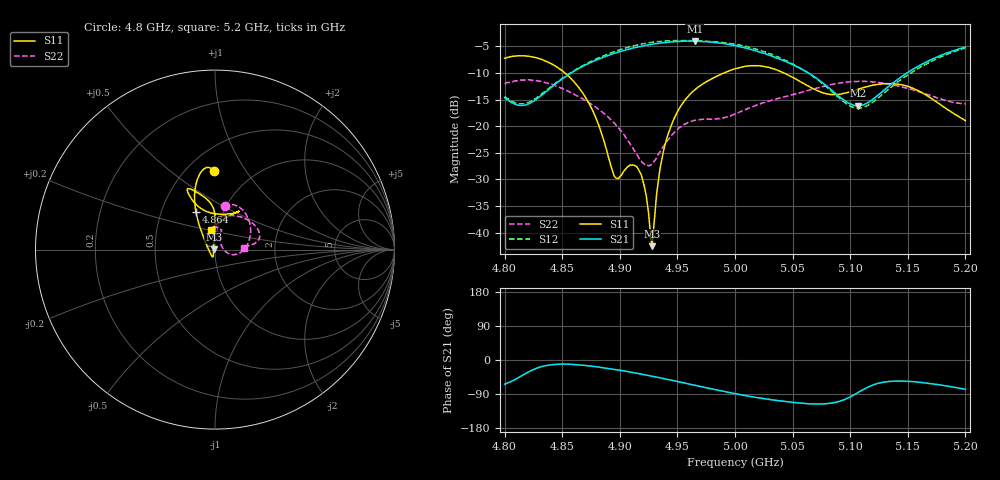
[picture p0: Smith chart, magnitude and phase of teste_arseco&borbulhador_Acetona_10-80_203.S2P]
! Network Analyzer HP8722D
! Hewlett-Packard
! Data name: Linha & Wilkinson
! Saver's name: Rodrigo Anjos
! Comments: Teste da utilização de aquisição
! continua pelo VNA HP8722D
! Time and date: 25/4/2025 16:57
!  Frequency  S11  S21  S12  S22
# HZ  S  MA R 50
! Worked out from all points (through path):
!   401 points, 4.8 GHz to 5.2 GHz, reference 50 ohm
!   highest |S21| = -3.98 dB at 4.965 GHz (marker M1); lowest = -16.2 dB at 5.107 GHz (marker M2)
!   lowest |S11| = -42.6 dB at 4.928 GHz (marker M3), VSWR 1.02, Z = 49.3 + j0.0648 ohm
!   |S11| at or under -10 dB: 4.852 GHz to 4.99 GHz (137.9 MHz wide, 2.8 % of centre); 5.043 GHz to end of sweep
!   |S22| runs from -27.5 to -11.2 dB; largest |S21 - S12| = 1.2
!   S11 on the Smith chart (normalised r, x): 4.8 GHz: 0.67, +0.72; 4.864 GHz: 0.75, +0.33; 5.2 GHz: 0.94, +0.21
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4.8e9  0.4357 91.1  0.1857 -63.9  0.1911 69.6  0.2502 77.5
4.82e9  0.4549 97.2  0.1612 -32.6  0.1666 98.3  0.2711 61.9
4.844e9  0.3685 107.1  0.2488 -11.6  0.2523 119.2  0.2391 35.5
4.864e9  0.2339 116.9  0.3481 -12.7  0.3512 121.1  0.1907 12.3
4.867e9  0.2112 118.5  0.3617 -13.7  0.3662 120.8  0.1833 8.9
4.88e9  0.1143 128.6  0.4211 -18.2  0.4318 118.3  0.1486 -4.9
4.896e9  0.03305 -169.7  0.4876 -25.2  0.5063 113.3  0.1046 -15.4
4.91e9  0.0429 -107.9  0.5374 -32.4  0.5639 107.3  0.06513 -13.2
4.917e9  0.03766 -104.7  0.5595 -36.2  0.588 103.7  0.04945 -0.4
4.921e9  0.02807 -108.8  0.5728 -38.6  0.599 101.5  0.04416 12.1
4.928e9  0.00745 174.9  0.5894 -42.8  0.6159 97.3  0.04462 40.2
4.934e9  0.03394 100.5  0.6032 -46.6  0.6267 93.4  0.05546 57.7
4.939e9  0.06532 93.4  0.6126 -49.6  0.6339 90.2  0.06715 64.9
4.946e9  0.1108 90.5  0.6216 -54.2  0.6364 85.8  0.08441 69.6
4.965e9  0.2194 91.4  0.6324 -66.9  0.6357 73.7  0.1138 71.0
5e9  0.3468 109.4  0.5727 -88.9  0.5916 50.9  0.13 88.4
5.03e9  0.3551 115.3  0.4644 -104.1  0.4813 33.8  0.1726 85.3
5.067e9  0.2277 105.6  0.3011 -115.7  0.2985 23.7  0.2223 57.3
5.107e9  0.2233 64.7  0.1557 -85.5  0.1477 57.7  0.2643 24.2
5.134e9  0.2514 57.9  0.2398 -56.5  0.2254 88.8  0.2484 12.4
5.17e9  0.1839 71.2  0.421 -62.4  0.4052 84.6  0.1939 6.8
5.2e9  0.1127 100.8  0.5541 -77.3  0.5435 70.2  0.1621 3.8
